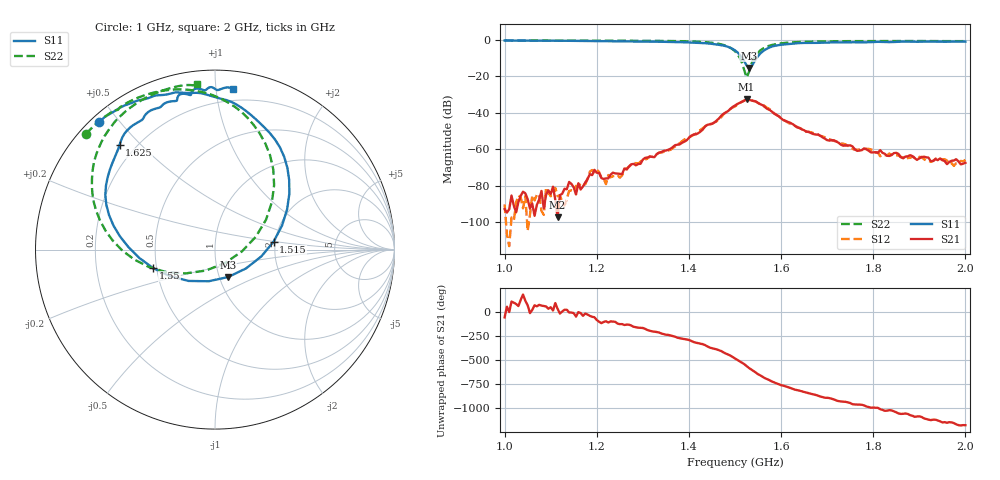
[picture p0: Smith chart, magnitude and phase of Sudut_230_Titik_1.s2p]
# Hz S RI R 50
! CMT, C1220, 16058040, 17.2.0/1
! Date: 14/08/2018 12:57:30
! Data: Format (Calibration Info)
! Freq  S11: Re/Im (F2)  S21: Re/Im (F2)  S12: Re/Im (F2)  S22: Re/Im (F2)
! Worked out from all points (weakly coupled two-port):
!   201 points, 1 GHz to 2 GHz, reference 50 ohm
!   highest |S21| = -32.65 dB at 1.525 GHz (marker M1); lowest = -97.4 dB at 1.115 GHz (marker M2)
!   lowest |S11| = -15.4 dB at 1.53 GHz (marker M3), VSWR 1.41, Z = 55 - j17.3 ohm
!   |S11| at or under -10 dB: 1.516 GHz to 1.547 GHz (30.99 MHz wide, 2.02 % of centre)
!   |S22| runs from -20.6 to -0.3 dB; largest |S21 - S12| = 0.00094
!   S11 on the Smith chart (normalised r, x): 1 GHz: 0.02, +0.44; 1.515 GHz: 1.96, +0.19; 1.55 GHz: 0.48, -0.11; 1.625 GHz: 0.14, +0.43; 2 GHz: 0.12, +1.11
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1e9  -0.6469 0.7121  1.14e-05 -1.99e-05  2.55e-05 1.74e-05  -0.7192 0.6457
1.115e9  -0.5275 0.7916  1.19e-05 6.36e-06  5.04e-05 1.12e-05  -0.6299 0.7273
1.17e9  -0.4596 0.8193  6.96e-05 -6.55e-05  9.12e-05 -5.28e-05  -0.5768 0.7656
1.19e9  -0.4298 0.8306  0.000117 -0.000156  0.00012 -0.000242  -0.5536 0.7766
1.195e9  -0.4225 0.8325  0.000144 -0.000232  5.9e-05 -0.000227  -0.5475 0.7774
1.22e9  -0.3875 0.8392  -2.56e-05 -0.000157  -3.69e-05 -0.000104  -0.5309 0.7909
1.225e9  -0.3792 0.8416  -6.13e-05 -0.000147  -5.22e-05 -0.00019  -0.5255 0.7957
1.25e9  -0.3388 0.8565  -0.000136 -0.000163  -6.92e-05 -0.000151  -0.4949 0.8149
1.275e9  -0.2989 0.8607  -0.000314 -0.000228  -0.000333 -0.000192  -0.4603 0.8326
1.335e9  -0.1867 0.8739  -0.00066 0.000476  -0.000603 0.000517  -0.3601 0.8699
1.45e9  0.1953 0.7542  0.0047 -0.00159  0.0047 -0.00189  0.047 0.8334
1.5e9  0.4141 0.3098  -0.00888 -0.0132  -0.00837 -0.0124  0.3294 0.3596
1.515e9  0.3264 0.0439  -0.0196 -0.00405  -0.0196 -0.00457  0.2276 0.0716
1.525e9  0.1728 -0.105  -0.0215 0.00906  -0.0217 0.00904  0.0564 -0.0748
1.53e9  0.073 -0.1528  -0.0167 0.0152  -0.0167 0.0153  -0.0521 -0.117
1.55e9  -0.3454 -0.1028  0.00562 0.0178  0.00487 0.018  -0.4492 -0.0556
1.58e9  -0.6055 0.25  0.0108 -0.000646  0.0112 -0.00108  -0.6755 0.2649
1.625e9  -0.5317 0.5833  0.000906 -0.00483  0.00103 -0.00453  -0.6496 0.5614
1.67e9  -0.4163 0.7161  -0.0019 -0.00179  -0.00201 -0.00193  -0.5668 0.701
1.835e9  -0.1371 0.8609  0.000328 0.00057  0.000465 0.000607  -0.315 0.8779
1.975e9  0.0608 0.9028  0.000135 -0.000473  4.24e-05 -0.000348  -0.125 0.9156
2e9  0.0984 0.895  -4.31e-05 -0.000425  -5.45e-05 -0.00051  -0.0977 0.9224
